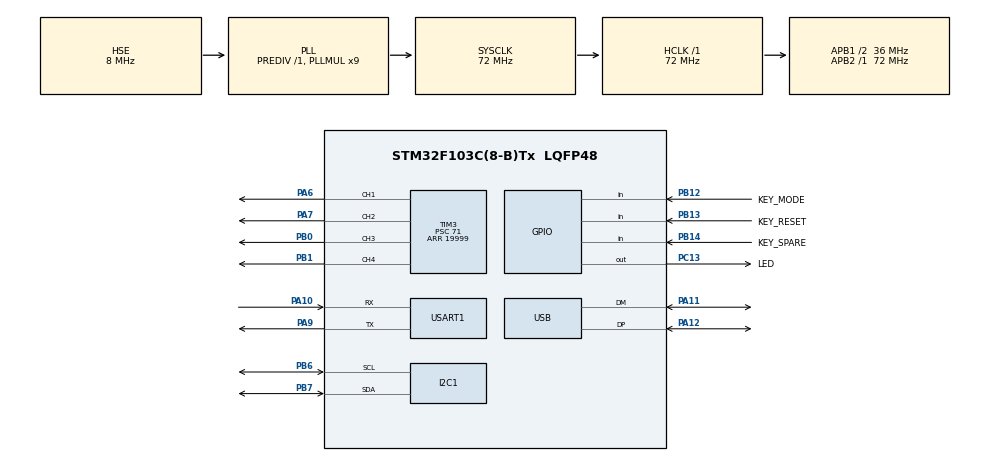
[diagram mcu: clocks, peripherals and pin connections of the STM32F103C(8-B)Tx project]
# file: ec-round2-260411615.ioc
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I2C1.I2C_Mode=I2C_Fast
Mcu.Family=STM32F1
Mcu.Name=STM32F103C(8-B)Tx
Mcu.Package=LQFP48
NVIC.PriorityGroup=NVIC_PRIORITYGROUP_4
NVIC.TIM2_IRQn=true\:0\:0\:false\:false\:true\:true\:true\:true
NVIC.USART1_IRQn=true\:0\:0\:false\:false\:true\:true\:true\:true
NVIC.USB_LP_CAN1_RX0_IRQn=true\:0\:0\:false\:false\:true\:false\:true\:true
PA10.Mode=Asynchronous
PA10.Signal=USART1_RX
PA11.Mode=Device
PA11.Signal=USB_DM
PA12.Mode=Device
PA12.Signal=USB_DP
PA13.Mode=Serial_Wire
PA13.Signal=SYS_JTMS-SWDIO
PA14.Mode=Serial_Wire
PA14.Signal=SYS_JTCK-SWCLK
PA6.Signal=S_TIM3_CH1
PA7.Signal=S_TIM3_CH2
PA9.Mode=Asynchronous
PA9.Signal=USART1_TX
PB0.Signal=S_TIM3_CH3
PB1.Signal=S_TIM3_CH4
PB12.GPIO_Label=KEY_MODE
PB12.GPIO_PuPd=GPIO_PULLUP
PB12.Signal=GPIO_Input
PB13.GPIO_Label=KEY_RESET
PB13.GPIO_PuPd=GPIO_PULLUP
PB13.Signal=GPIO_Input
PB14.GPIO_Label=KEY_SPARE
PB14.GPIO_PuPd=GPIO_PULLUP
PB14.Signal=GPIO_Input
PB6.Mode=I2C
PB6.Signal=I2C1_SCL
PB7.Mode=I2C
PB7.Signal=I2C1_SDA
PC13-TAMPER-RTC.GPIO_Label=LED
PC13-TAMPER-RTC.PinState=GPIO_PIN_SET
PC13-TAMPER-RTC.Signal=GPIO_Output
PD0-OSC_IN.Mode=HSE-External-Oscillator
PD0-OSC_IN.Signal=RCC_OSC_IN
PD1-OSC_OUT.Mode=HSE-External-Oscillator
PD1-OSC_OUT.Signal=RCC_OSC_OUT
ProjectManager.HeapSize=0x200
ProjectManager.StackSize=0x800
ProjectManager.TargetToolchain=CMake
RCC.AHBFreq_Value=72000000
RCC.APB1CLKDivider=RCC_HCLK_DIV2
RCC.APB1Freq_Value=36000000
RCC.APB1TimFreq_Value=72000000
RCC.APB2Freq_Value=72000000
RCC.APB2TimFreq_Value=72000000
RCC.HCLKFreq_Value=72000000
RCC.PLLMUL=RCC_PLL_MUL9
RCC.SYSCLKFreq_VALUE=72000000
RCC.SYSCLKSource=RCC_SYSCLKSOURCE_PLLCLK
RCC.USBFreq_Value=48000000
RCC.USBPrescaler=RCC_USBCLKSOURCE_PLL_DIV1_5
SH.S_TIM3_CH1.0=TIM3_CH1,PWM Generation1 CH1
SH.S_TIM3_CH2.0=TIM3_CH2,PWM Generation2 CH2
SH.S_TIM3_CH3.0=TIM3_CH3,PWM Generation3 CH3
SH.S_TIM3_CH4.0=TIM3_CH4,PWM Generation4 CH4
TIM2.AutoReloadPreload=TIM_AUTORELOAD_PRELOAD_ENABLE
TIM2.Period=999
TIM2.Prescaler=71
TIM3.Channel-PWM\ Generation1\ CH1=TIM_CHANNEL_1
TIM3.Channel-PWM\ Generation2\ CH2=TIM_CHANNEL_2
TIM3.Channel-PWM\ Generation3\ CH3=TIM_CHANNEL_3
TIM3.Channel-PWM\ Generation4\ CH4=TIM_CHANNEL_4
TIM3.Period=19999
TIM3.Prescaler=71
TIM3.Pulse-PWM\ Generation1\ CH1=1500
TIM3.Pulse-PWM\ Generation2\ CH2=1500
TIM3.Pulse-PWM\ Generation3\ CH3=1500
TIM3.Pulse-PWM\ Generation4\ CH4=1500
USART1.VirtualMode=VM_ASYNC
USB_DEVICE.CLASS_NAME_FS=CDC
USB_DEVICE.VirtualMode=Cdc
USB_DEVICE.VirtualModeFS=Cdc_FS
VP_TIM2_VS_ClockSourceINT.Mode=Internal
VP_USB_DEVICE_VS_USB_DEVICE_CDC_FS.Mode=CDC_FS
board=custom

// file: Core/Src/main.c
/* USER CODE BEGIN Header */
/**
  ******************************************************************************
  * @file           : main.c
  * @brief          : Main program body
  ******************************************************************************
  * @attention
  *
  * Copyright (c) 2026 STMicroelectronics.
  * All rights reserved.
  *
  * This software is licensed under terms that can be found in the LICENSE file
  * in the root directory of this software component.
  * If no LICENSE file comes with this software, it is provided AS-IS.
  *
  ******************************************************************************
  */
/* USER CODE END Header */
#include "main.h"
#include "i2c.h"
#include "stm32f103xb.h"
#include "stm32f1xx_hal_gpio.h"
#include "tim.h"
#include "usart.h"
#include "usb_device.h"
#include "gpio.h"

/* USER CODE BEGIN Includes */
#include "usbd_cdc.h"
#include "usbd_cdc_if.h"

/* USER CODE END Includes */

/* USER CODE BEGIN PD */
#define LED_TOGGLE_MS 500 //定义一个宏：LED小灯的半周期

#define KEY_DEBOUNCE_CNT 20  //按键消抖检测次数
#define KEY_NUM 3  //数组长度/按键循环上界

#define TX_RING_SIZE 256U  //必须为 2 的幂，才能用按位与代替取余；256B ≈ 11 帧状态帧（23B/帧），50Hz 下约 0.2s 缓冲余量
#define TX_RING_MASK (TX_RING_SIZE - 1U)  //物理下标掩码：wr & MASK 等价于 wr % 256。若把容量改成非 2 的幂（如 200），& 199 不再等于 % 200，数据错位而编译零警告
#define TX_PKT_SIZE 64U  //USB全速端点单包上限

/* USER CODE END PD */

/* USER CODE BEGIN PV */
/*全局毫秒时基，TIM2更新中断每 1ms 自增一次*/
volatile uint32_t g_tick_ms = 0;  //volatile防止编译器把值缓存进寄存器导致主循环死等； uint32_t回绕周期 2^32ms 优于其它数据类型

volatile uint32_t g_key_press[KEY_NUM] = {0};  //按下次数绝对值
volatile uint32_t g_key_held[KEY_NUM] = {0};  //按键按下状态，长按也是有操作的

static uint8_t s_cnt[KEY_NUM] = {0};  //消抖计数
static uint8_t s_stable[KEY_NUM] = {1, 1, 1};  //消抖后的电平
static uint8_t s_event[KEY_NUM] = {0};  //按下沿标志
static uint32_t s_last_scan_tick = 0;  //1ms采样闸门，防止s_cnt暴涨卡死

static GPIO_TypeDef *const s_port[KEY_NUM] = {KEY_MODE_GPIO_Port, KEY_RESET_GPIO_Port, KEY_SPARE_GPIO_Port};
static const uint16_t s_pin[KEY_NUM] = {KEY_MODE_Pin, KEY_RESET_Pin, KEY_SPARE_Pin};

static uint8_t s_tx_ring[TX_RING_SIZE];  //环形缓冲器本体：printf 出来的字节先落这里，等 USB 空闲再由 cdc_pump 搬走
static uint16_t s_tx_wr;  //写索引=下一个要写的位置。只增不减、永不手动归零；靠 uint16 自然溢出回绕，差值 wr-rd 在模 65536 下恒等于真实已用字节数
static uint16_t s_tx_rd;  //读索引=下一个要读的位置。同样只增不减，且只能由「发送成功」那一步推进；任何一处把它赋 0 都会让 used 算错
volatile uint32_t g_tx_drop;  //因缓冲满而丢弃的字节数。>0 说明 printf 速度超过 USB 消费速度，是容量不足的唯一硬证据；代码不读它，加 volatile 防止被优化掉
volatile uint32_t g_tx_sent;  //已交给 USB 外设的字节数，只代表「已入端点」不代表主机收到；与 g_tx_drop 一起核对总量守恒

static uint32_t s_rst_csr;  //复位标志快照：必须在 __HAL_RCC_CLEAR_RESET_FLAGS() 之前读，之后 reset_cause() 只认这个值——标志一旦清掉，寄存器里就全是 0
extern USBD_HandleTypeDef hUsbDeviceFS;  //声明句柄用于访问.pClassData
static uint8_t s_tx_staging[TX_PKT_SIZE];  //交给USB的实在缓冲
uint32_t s_printf_seq;  //打印轮次序号
uint32_t s_last_print_tick;  //上次打印的g_tick_ms
/* USER CODE END PV */

void SystemClock_Config(void);
/* USER CODE BEGIN PFP */
static void key_scan(void);  //消抖函数的声明，定义在BEGIN 4
static uint16_t ring_push(const uint8_t *p, uint16_t len);  //环形缓冲器的声明
int _write(int file, char *ptr, int len);
static const char *reset_cause(void);
static void cdc_pump(void);  //把ring_push里面的东西搬走
static void self_test_printf(void);  //周期性输出

/* USER CODE END PFP */

int main(void)
{

  /* USER CODE BEGIN 1 */
  uint32_t last_toggle = 0;  //初始化一个上次翻转的时间点

  s_rst_csr = RCC->CSR;  //读取整个寄存器
  __HAL_RCC_CLEAR_RESET_FLAGS();  //写RMVF

  /* USER CODE END 1 */

  /* MCU Configuration--------------------------------------------------------*/

  /* Reset of all peripherals, Initializes the Flash interface and the Systick. */
  HAL_Init();

  /* Configure the system clock */
  SystemClock_Config();

  /* Initialize all configured peripherals */
  MX_GPIO_Init();
  MX_I2C1_Init();
  MX_TIM2_Init();
  MX_TIM3_Init();
  MX_USART1_UART_Init();
  MX_USB_DEVICE_Init();
  /* USER CODE BEGIN 2 */
  //启动计数器
  if (HAL_TIM_Base_Start_IT(&htim2) != HAL_OK) {
    Error_Handler();
  }

  /* USER CODE END 2 */

  /* Infinite loop */
  while (1)
  {

    /* USER CODE BEGIN 3 */

    //心跳指示灯
    uint32_t now = g_tick_ms;

    if ((now - last_toggle) >= LED_TOGGLE_MS){
      last_toggle += LED_TOGGLE_MS;
      HAL_GPIO_TogglePin(LED_GPIO_Port, LED_Pin);
    }

    //按键消抖逻辑的接入
    if (now != s_last_scan_tick) {
      s_last_scan_tick = now;
      key_scan();
    }

    //self_test_printf每秒调用一次
    if ((now - s_last_print_tick) >= 1000) {
      s_last_print_tick += 1000;
      self_test_printf();
    }
    cdc_pump();

  }
  /* USER CODE END 3 */
}

void SystemClock_Config(void)
{
  RCC_OscInitTypeDef RCC_OscInitStruct = {0};
  RCC_ClkInitTypeDef RCC_ClkInitStruct = {0};
  RCC_PeriphCLKInitTypeDef PeriphClkInit = {0};

  /** Initializes the RCC Oscillators according to the specified parameters
  * in the RCC_OscInitTypeDef structure.
  */
  RCC_OscInitStruct.OscillatorType = RCC_OSCILLATORTYPE_HSE;
  RCC_OscInitStruct.HSEState = RCC_HSE_ON;
  RCC_OscInitStruct.HSEPredivValue = RCC_HSE_PREDIV_DIV1;
  RCC_OscInitStruct.HSIState = RCC_HSI_ON;
  RCC_OscInitStruct.PLL.PLLState = RCC_PLL_ON;
  RCC_OscInitStruct.PLL.PLLSource = RCC_PLLSOURCE_HSE;
  RCC_OscInitStruct.PLL.PLLMUL = RCC_PLL_MUL9;
  if (HAL_RCC_OscConfig(&RCC_OscInitStruct) != HAL_OK)
  {
    Error_Handler();
  }

  /** Initializes the CPU, AHB and APB buses clocks
  */
  RCC_ClkInitStruct.ClockType = RCC_CLOCKTYPE_HCLK|RCC_CLOCKTYPE_SYSCLK
                              |RCC_CLOCKTYPE_PCLK1|RCC_CLOCKTYPE_PCLK2;
  RCC_ClkInitStruct.SYSCLKSource = RCC_SYSCLKSOURCE_PLLCLK;
  RCC_ClkInitStruct.AHBCLKDivider = RCC_SYSCLK_DIV1;
  RCC_ClkInitStruct.APB1CLKDivider = RCC_HCLK_DIV2;
  RCC_ClkInitStruct.APB2CLKDivider = RCC_HCLK_DIV1;

  if (HAL_RCC_ClockConfig(&RCC_ClkInitStruct, FLASH_LATENCY_2) != HAL_OK)
  {
    Error_Handler();
  }
  PeriphClkInit.PeriphClockSelection = RCC_PERIPHCLK_USB;
  PeriphClkInit.UsbClockSelection = RCC_USBCLKSOURCE_PLL_DIV1_5;
  if (HAL_RCCEx_PeriphCLKConfig(&PeriphClkInit) != HAL_OK)
  {
    Error_Handler();
  }
}

/* USER CODE BEGIN 4 */
//回调函数定义时基机制
void HAL_TIM_PeriodElapsedCallback(TIM_HandleTypeDef *htim) {
  if (htim->Instance == TIM2){   //确认定时器
    g_tick_ms++;  //每1ms计数加一
  }
}

//按键消抖：每 1ms 调用一次（由主循环的 tick 闸门保证），连续 KEY_DEBOUNCE_CNT 次
//电平一致才认可状态变化，避免机械触点抖动被识别成多次按下
static void key_scan(void) {
  for (int i = 0; i < KEY_NUM; i++) {
    //按下=0（引脚经按键接地），松开=1（内部上拉）
    uint8_t raw = (HAL_GPIO_ReadPin(s_port[i], s_pin[i]) == GPIO_PIN_RESET) ? 0 : 1;

    if (raw == s_stable[i]) {
      s_cnt[i] = 0;                        //与稳定态一致：计数清零，不做动作
    } else {
      s_cnt[i]++;                          //与稳定态不一致：进入观察期，开始累加

      if (s_cnt[i] >= KEY_DEBOUNCE_CNT) {  //连续 20 次(20ms)都不一致 → 确认真的翻转
        s_cnt[i] = 0;
        s_stable[i] = raw;                 //更新稳定态

        if (raw == 0) {                    //翻转后的新状态是「按下」→ 才记一次事件
          s_event[i] = 1;                  //一次性标志，留给 T6 状态机读后清零
          g_key_press[i]++;                //累计按下次数，供 ST-Link 只读验证
        }
      }
    }
    g_key_held[i] = (s_stable[i] == 0) ? 1 : 0;  //当前是否按住，供长按/组合键判断
  }
}

//环形缓冲器的定义
static uint16_t ring_push(const uint8_t *p, uint16_t len) {
  uint16_t used = (uint16_t)(s_tx_wr - s_tx_rd);  //强转防止整型提升导致回绕偏差， 不转会的到负数

  uint16_t spare = TX_RING_SIZE - used;

  //收敛 spare（缓冲剩余空间）
  if (len > spare) {
    g_tx_drop += (len - spare);
    len = spare;
  }
  //逐字节搬运
  for (int i = 0; i < len; i++) {
    s_tx_ring[s_tx_wr & TX_RING_MASK] = p[i];
    s_tx_wr++;
  }

  return len;
}

//_write函数的定义，用于将printf的输出接到ring_push上面
int _write(int file, char *ptr, int len) {
  (void) file;

  ring_push((const uint8_t *)ptr, (uint16_t)len);

  return len;
}

static const char *reset_cause(void) {
  if (s_rst_csr & RCC_CSR_PORRSTF) {
    return "POR";
  }
  if (s_rst_csr & RCC_CSR_SFTRSTF) {
    return "PIN";
  }
  if (s_rst_csr & RCC_CSR_PINRSTF) {
    return "SFT";
  }
  if (s_rst_csr & RCC_CSR_IWDGRSTF) {
    return "IWDG";
  }
  if (s_rst_csr & RCC_CSR_WWDGRSTF) {
    return "WWDG";
  }
  if (s_rst_csr & RCC_CSR_LPWRRSTF) {
    return "LPWR";
  }

  return "UNK";
}

static void cdc_pump(void) {
  //USB配置好了吗
  if(hUsbDeviceFS.pClassData == NULL) { return; }
    //上一包发完了吗
  USBD_CDC_HandleTypeDef *hcdc = (USBD_CDC_HandleTypeDef *)hUsbDeviceFS.pClassData;
  if (hcdc->TxState != 0) { return; }

  //有数据吗
  uint16_t avail = (uint16_t)(s_tx_wr - s_tx_rd);
  if (avail == 0) { return; }

  uint16_t n = avail;
  if (n > TX_PKT_SIZE) { n = TX_PKT_SIZE; }  //USB全速端点单包最多64字节
  uint16_t phys = s_tx_rd & TX_RING_MASK;
  uint16_t room = TX_RING_SIZE - phys;
  if (n > room) { n = room; }

  //传送
  memcpy(s_tx_staging, &s_tx_ring[phys], n);
  if (CDC_Transmit_FS(s_tx_staging, n) == USBD_OK) {
    s_tx_rd += n;
    g_tx_sent += n;

  }
}

static void self_test_printf(void) {
  uint32_t seq = s_printf_seq++;

  printf("[%05lu] ec_round2-260411615\r\n", seq);
  printf("[%05lu] clk=%lu\r\n", seq,SystemCoreClock);
  printf("[%05lu] rst=%s csr=%08lX\r\n", seq, reset_cause(), s_rst_csr);
}
/* USER CODE END 4 */

void Error_Handler(void)
{
  __disable_irq();
  while (1)
  {
  }
}
